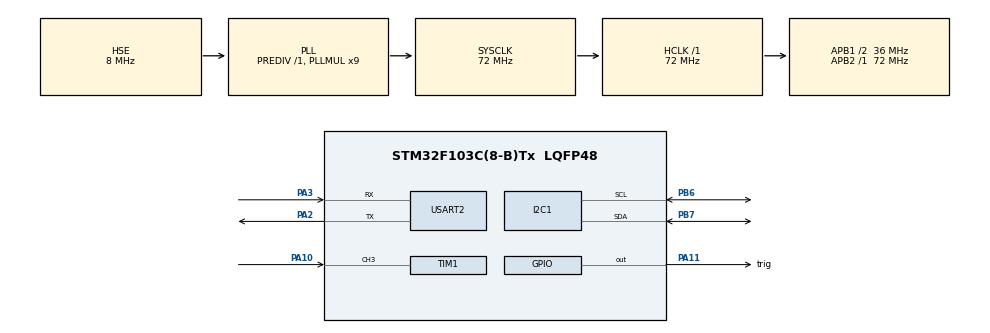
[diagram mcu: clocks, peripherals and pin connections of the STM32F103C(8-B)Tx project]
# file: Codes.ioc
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Mcu.Family=STM32F1
Mcu.Name=STM32F103C(8-B)Tx
Mcu.Package=LQFP48
NVIC.PriorityGroup=NVIC_PRIORITYGROUP_4
NVIC.TIM1_CC_IRQn=true\:0\:0\:false\:false\:true\:true\:true\:true
NVIC.USART2_IRQn=true\:0\:0\:false\:false\:true\:true\:true\:true
PA10.Signal=S_TIM1_CH3
PA11.GPIO_Label=trig
PA11.Signal=GPIO_Output
PA13.Mode=Serial_Wire
PA13.Signal=SYS_JTMS-SWDIO
PA14.Mode=Serial_Wire
PA14.Signal=SYS_JTCK-SWCLK
PA2.Mode=Asynchronous
PA2.Signal=USART2_TX
PA3.Mode=Asynchronous
PA3.Signal=USART2_RX
PB6.Mode=I2C
PB6.Signal=I2C1_SCL
PB7.Mode=I2C
PB7.Signal=I2C1_SDA
PD0-OSC_IN.Mode=HSE-External-Oscillator
PD0-OSC_IN.Signal=RCC_OSC_IN
PD1-OSC_OUT.Mode=HSE-External-Oscillator
PD1-OSC_OUT.Signal=RCC_OSC_OUT
ProjectManager.HeapSize=0x200
ProjectManager.StackSize=0x400
ProjectManager.TargetToolchain=STM32CubeIDE
RCC.AHBFreq_Value=72000000
RCC.APB1CLKDivider=RCC_HCLK_DIV2
RCC.APB1Freq_Value=36000000
RCC.APB1TimFreq_Value=72000000
RCC.APB2Freq_Value=72000000
RCC.APB2TimFreq_Value=72000000
RCC.HCLKFreq_Value=72000000
RCC.PLLMUL=RCC_PLL_MUL9
RCC.PLLSourceVirtual=RCC_PLLSOURCE_HSE
RCC.SYSCLKFreq_VALUE=72000000
RCC.SYSCLKSource=RCC_SYSCLKSOURCE_PLLCLK
RCC.USBFreq_Value=72000000
SH.S_TIM1_CH3.0=TIM1_CH3,Input_Capture3_from_TI3
TIM1.Channel-Input_Capture3_from_TI3=TIM_CHANNEL_3
TIM1.Channel-Input_Capture4_from_TI3_63=TIM_CHANNEL_4
TIM1.ICPolarity_CH4=TIM_INPUTCHANNELPOLARITY_FALLING
TIM1.Prescaler=72-1
USART2.VirtualMode=VM_ASYNC
VP_TIM1_VS_ClockSourceINT.Mode=Internal
VP_TIM1_VS_indirect_ch3.Mode=Input_Capture4_from_TI3_63
board=custom

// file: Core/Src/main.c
/* USER CODE BEGIN Header */
/**
  ******************************************************************************
  * @file           : main.c
  * @brief          : Main program body
  ******************************************************************************
  * @attention
  *
  * Copyright (c) 2025 STMicroelectronics.
  * All rights reserved.
  *
  * This software is licensed under terms that can be found in the LICENSE file
  * in the root directory of this software component.
  * If no LICENSE file comes with this software, it is provided AS-IS.
  *
  ******************************************************************************
  */
/* USER CODE END Header */
#include "main.h"
#include "i2c.h"
#include "tim.h"
#include "usart.h"
#include "gpio.h"

/* USER CODE BEGIN Includes */
#include "stdio.h"
#include "string.h"
/* USER CODE END Includes */

void SystemClock_Config(void);

/* USER CODE BEGIN 0 */
int upEdge = 0;
int downEdge = 0;
float distance = 0;
void HAL_TIM_IC_CaptureCallback(TIM_HandleTypeDef *htim)
{
    if(htim == &htim1 && htim->Channel == HAL_TIM_ACTIVE_CHANNEL_4)
    {
      upEdge = HAL_TIM_ReadCapturedValue(htim, TIM_CHANNEL_3);
      downEdge = HAL_TIM_ReadCapturedValue(htim, TIM_CHANNEL_4);
      distance = (downEdge - upEdge) * 0.034 / 2;
    }
}
/* USER CODE END 0 */

int main(void)
{

  /* MCU Configuration--------------------------------------------------------*/

  /* Reset of all peripherals, Initializes the Flash interface and the Systick. */
  HAL_Init();

  /* Configure the system clock */
  SystemClock_Config();

  /* Initialize all configured peripherals */
  MX_GPIO_Init();
  MX_I2C1_Init();
  MX_TIM1_Init();
  MX_USART2_UART_Init();
  /* USER CODE BEGIN 2 */
  HAL_Delay(20);

  HAL_TIM_BASE_Start(&htim1);
  HAL_TIM_IC_Start(&htim1, TIM_CHANNEL_3);
  HAL_TIM_OC_Start_IT(&htim1, TIM_CHANNEL_4);

  char message[20] = "";

  /* USER CODE END 2 */

  /* Infinite loop */
  /* USER CODE BEGIN WHILE */
  while (1)
  {
    HAL_GPIO_WritePin(trig_GPIO_Port,trig_Pin,1);
    HAL_Delay(1);
    HAL_GPIO_WritePin(trig_GPIO_Port,trig_Pin,0);
    __HAL_TIM_SetCounter(&htim1,0);
    HAL_Delay(20);

    sprintf(message,"distance : %.2fcm",distance);
    HAL_UART_Transmit(&huart2, messege, strlen(messege), HAL_MAX_DELAY);
    /* USER CODE END WHILE */

  }
}

void SystemClock_Config(void)
{
  RCC_OscInitTypeDef RCC_OscInitStruct = {0};
  RCC_ClkInitTypeDef RCC_ClkInitStruct = {0};

  /** Initializes the RCC Oscillators according to the specified parameters
  * in the RCC_OscInitTypeDef structure.
  */
  RCC_OscInitStruct.OscillatorType = RCC_OSCILLATORTYPE_HSE;
  RCC_OscInitStruct.HSEState = RCC_HSE_ON;
  RCC_OscInitStruct.HSEPredivValue = RCC_HSE_PREDIV_DIV1;
  RCC_OscInitStruct.HSIState = RCC_HSI_ON;
  RCC_OscInitStruct.PLL.PLLState = RCC_PLL_ON;
  RCC_OscInitStruct.PLL.PLLSource = RCC_PLLSOURCE_HSE;
  RCC_OscInitStruct.PLL.PLLMUL = RCC_PLL_MUL9;
  if (HAL_RCC_OscConfig(&RCC_OscInitStruct) != HAL_OK)
  {
    Error_Handler();
  }

  /** Initializes the CPU, AHB and APB buses clocks
  */
  RCC_ClkInitStruct.ClockType = RCC_CLOCKTYPE_HCLK|RCC_CLOCKTYPE_SYSCLK
                              |RCC_CLOCKTYPE_PCLK1|RCC_CLOCKTYPE_PCLK2;
  RCC_ClkInitStruct.SYSCLKSource = RCC_SYSCLKSOURCE_PLLCLK;
  RCC_ClkInitStruct.AHBCLKDivider = RCC_SYSCLK_DIV1;
  RCC_ClkInitStruct.APB1CLKDivider = RCC_HCLK_DIV2;
  RCC_ClkInitStruct.APB2CLKDivider = RCC_HCLK_DIV1;

  if (HAL_RCC_ClockConfig(&RCC_ClkInitStruct, FLASH_LATENCY_2) != HAL_OK)
  {
    Error_Handler();
  }
}

void Error_Handler(void)
{
  __disable_irq();
  while (1)
  {
  }
}
